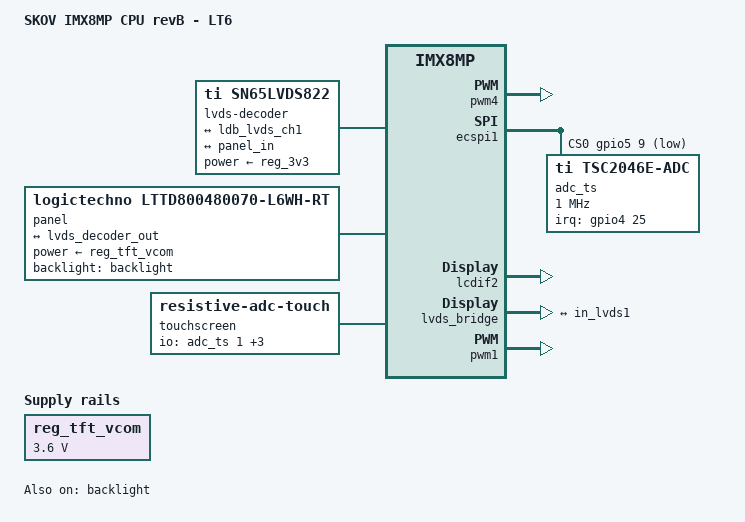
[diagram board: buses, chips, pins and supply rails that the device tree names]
// SPDX-License-Identifier: (GPL-2.0 OR MIT)

/dts-v1/;

#include "imx8mp-skov-reva.dtsi"

/ {
	model = "SKOV IMX8MP CPU revB - LT6";
	compatible = "skov,imx8mp-skov-revb-lt6", "fsl,imx8mp";

	lvds-decoder {
		compatible = "ti,sn65lvds822", "lvds-decoder";
		power-supply = <&reg_3v3>;

		ports {
			#address-cells = <1>;
			#size-cells = <0>;

			port@0 {
				reg = <0>;

				in_lvds1: endpoint {
					data-mapping = "vesa-24";
					remote-endpoint = <&ldb_lvds_ch1>;
				};
			};

			port@1 {
				reg = <1>;

				lvds_decoder_out: endpoint {
					remote-endpoint = <&panel_in>;
				};
			};
		};
	};

	panel {
		compatible = "logictechno,lttd800480070-l6wh-rt";
		backlight = <&backlight>;
		power-supply = <&reg_tft_vcom>;

		port {
			panel_in: endpoint {
				remote-endpoint = <&lvds_decoder_out>;
			};
		};
	};

	touchscreen {
		compatible = "resistive-adc-touch";
		io-channels = <&adc_ts 1>, <&adc_ts 3>, <&adc_ts 4>, <&adc_ts 5>;
		io-channel-names = "y", "z1", "z2", "x";
		touchscreen-min-pressure = <65000>;
		touchscreen-inverted-y;
		touchscreen-swapped-x-y;
		touchscreen-x-plate-ohms = <300>;
	};
};

&reg_tft_vcom {
	regulator-min-microvolt = <3600000>;
	regulator-max-microvolt = <3600000>;
	voltage-table = <3600000 26>;
	status = "okay";
};

&pwm4 {
	status = "okay";
};

&backlight {
	status = "okay";
};

&ecspi1 {
	pinctrl-names = "default";
	pinctrl-0 = <&pinctrl_ecspi1>;
	cs-gpios = <&gpio5 9 GPIO_ACTIVE_LOW>;
	status = "okay";

	adc_ts: adc@0 {
		compatible = "ti,tsc2046e-adc";
		reg = <0>;
		pinctrl-0 = <&pinctrl_touch>;
		pinctrl-names ="default";
		spi-max-frequency = <1000000>;
		interrupts-extended = <&gpio4 25 IRQ_TYPE_LEVEL_LOW>;
		#io-channel-cells = <1>;

		#address-cells = <1>;
		#size-cells = <0>;

		channel@1 {
			reg = <1>;
			settling-time-us = <700>;
			oversampling-ratio = <5>;
		};

		channel@3 {
			reg = <3>;
			settling-time-us = <700>;
			oversampling-ratio = <5>;
		};

		channel@4 {
			reg = <4>;
			settling-time-us = <700>;
			oversampling-ratio = <5>;
		};

		channel@5 {
			reg = <5>;
			settling-time-us = <700>;
			oversampling-ratio = <5>;
		};
	};
};

&lcdif2 {
	status = "okay";
};

&lvds_bridge {
	assigned-clocks = <&clk IMX8MP_CLK_MEDIA_LDB>,
				 <&clk IMX8MP_VIDEO_PLL1>;
	assigned-clock-parents = <&clk IMX8MP_VIDEO_PLL1_OUT>;
	/* IMX8MP_VIDEO_PLL1 = IMX8MP_CLK_MEDIA_DISP2_PIX * 2 * 7 */
	assigned-clock-rates = <0>, <462000000>;
	status = "okay";

	ports {
		port@2 {
			ldb_lvds_ch1: endpoint {
				remote-endpoint = <&in_lvds1>;
			};
		};
	};
};

&pwm1 {
	status = "okay";
};

&iomuxc {
	pinctrl_ecspi1: ecspi1grp {
		fsl,pins = <
			MX8MP_IOMUXC_ECSPI1_SCLK__ECSPI1_SCLK			0x44
			MX8MP_IOMUXC_ECSPI1_MOSI__ECSPI1_MOSI			0x44
			MX8MP_IOMUXC_ECSPI1_MISO__ECSPI1_MISO			0x44
			MX8MP_IOMUXC_ECSPI1_SS0__GPIO5_IO09			0x40
		>;
	};

	pinctrl_touch: touchgrp {
		fsl,pins = <
			/* external pull up */
			MX8MP_IOMUXC_SAI2_TXC__GPIO4_IO25			0x40
		>;
	};
};
